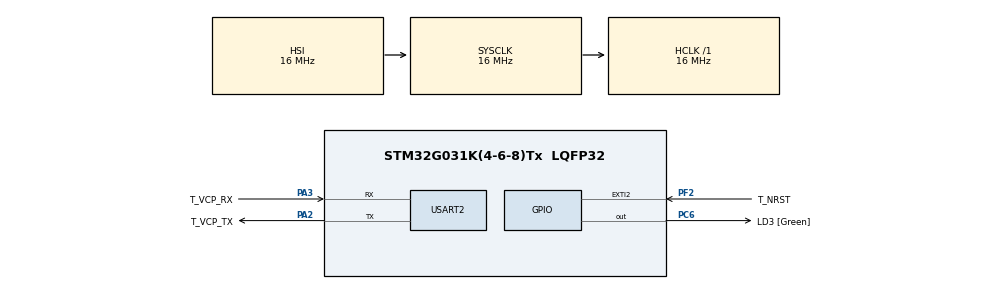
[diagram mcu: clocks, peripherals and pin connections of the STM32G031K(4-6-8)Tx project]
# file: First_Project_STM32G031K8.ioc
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Mcu.Family=STM32G0
Mcu.Name=STM32G031K(4-6-8)Tx
Mcu.Package=LQFP32
NVIC.TIM1_BRK_UP_TRG_COM_IRQn=true\:0\:0\:false\:false\:true\:true\:true
NVIC.TIM1_CC_IRQn=true\:0\:0\:false\:false\:true\:true\:true
PA13.GPIO_Label=T_JTMS
PA13.Mode=Serial_Wire
PA13.Signal=SYS_SWDIO
PA14-BOOT0.GPIO_Label=T_JTCK
PA14-BOOT0.Mode=Serial_Wire
PA14-BOOT0.Signal=SYS_SWCLK
PA2.GPIO_Label=T_VCP_TX
PA2.GPIO_PuPd=GPIO_PULLUP
PA2.Mode=Asynchronous
PA2.Signal=USART2_TX
PA3.GPIO_Label=T_VCP_RX
PA3.GPIO_PuPd=GPIO_PULLUP
PA3.Mode=Asynchronous
PA3.Signal=USART2_RX
PC14-OSC32_IN\ (PC14).Mode=LSE-External-Oscillator
PC14-OSC32_IN\ (PC14).Signal=RCC_OSC32_IN
PC15-OSC32_OUT\ (PC15).Mode=LSE-External-Oscillator
PC15-OSC32_OUT\ (PC15).Signal=RCC_OSC32_OUT
PC6.GPIO_Label=LD3 [Green]
PC6.Signal=GPIO_Output
PF2\ -\ NRST.GPIO_Label=T_NRST
PF2\ -\ NRST.Signal=GPXTI2
ProjectManager.HeapSize=0x200
ProjectManager.StackSize=0x400
ProjectManager.TargetToolchain=STM32CubeIDE
RCC.AHBFreq_Value=16000000
RCC.CortexFreq_Value=16000000
RCC.EXTERNAL_CLOCK_VALUE=12288000
RCC.HCLKFreq_Value=16000000
RCC.HSE_VALUE=8000000
RCC.HSI_VALUE=16000000
RCC.SYSCLKFreq_VALUE=16000000
RCC.VCOOutputFreq_Value=128000000
TIM1.Channel-PWM\ Generation1\ No\ Output=TIM_CHANNEL_1
TIM1.Period=15999
USART2.VirtualMode-Asynchronous=VM_ASYNC
USART2.WordLength=WORDLENGTH_7B
VP_TIM1_VS_ClockSourceINT.Mode=Internal
VP_TIM1_VS_no_output1.Mode=PWM Generation1 No Output
board=NUCLEO-G031K8

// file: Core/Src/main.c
/* USER CODE BEGIN Header */
/**
  ******************************************************************************
  * @file           : main.c
  * @brief          : Main program body
  ******************************************************************************
  * @attention
  *
  * Copyright (c) 2022 STMicroelectronics.
  * All rights reserved.
  *
  * This software is licensed under terms that can be found in the LICENSE file
  * in the root directory of this software component.
  * If no LICENSE file comes with this software, it is provided AS-IS.
  *
  ******************************************************************************
  */
/* USER CODE END Header */
#include "main.h"
#include "tim.h"
#include "usart.h"
#include "gpio.h"

/* USER CODE BEGIN Includes */
#define Contagem_Maxima 	1000
#define Contagem_Minima_LED	2
#define Contagem_Maxima_LED	4

uint16_t Contador_Segundos;
/* USER CODE END Includes */

void SystemClock_Config(void);

/* USER CODE BEGIN 0 */

void HAL_TIM_PeriodElapsedCallback(TIM_HandleTypeDef *htim)
{
	  static uint16_t Contador_Ms = 0;

	  if(htim->Instance == TIM1)
	   {
		   Contador_Ms++;
		   if (Contador_Ms == Contagem_Maxima)
		   {
			   Contador_Segundos++;
			   Contador_Ms = 0;
		   }
	   }
}

/* USER CODE END 0 */

int main(void)
{

  /* MCU Configuration--------------------------------------------------------*/

  /* Reset of all peripherals, Initializes the Flash interface and the Systick. */
  HAL_Init();

  /* Configure the system clock */
  SystemClock_Config();

  /* Initialize all configured peripherals */
  MX_GPIO_Init();
  MX_USART2_UART_Init();
  MX_TIM1_Init();
  /* USER CODE BEGIN 2 */

//  HAL_TIM_Base_Start(&htim1);
  HAL_TIM_Base_Start_IT(&htim1);

  /* USER CODE END 2 */

  /* Infinite loop */
  while (1)
  {

    /* USER CODE BEGIN 3 */
	  if (Contador_Segundos < Contagem_Minima_LED)
	  {
		  HAL_GPIO_WritePin(GPIOC, GPIO_PIN_6, GPIO_PIN_RESET);
	  }
	  else if (Contador_Segundos >= Contagem_Minima_LED && Contador_Segundos < Contagem_Maxima_LED)
	  {
		  HAL_GPIO_WritePin(GPIOC, GPIO_PIN_6, GPIO_PIN_SET);
	  }
	  else if (Contador_Segundos >= Contagem_Maxima_LED)
	  {
		  HAL_GPIO_WritePin(GPIOC, GPIO_PIN_6, GPIO_PIN_RESET);
		  Contador_Segundos = 0;
	  }

  }
  /* USER CODE END 3 */
}

void SystemClock_Config(void)
{
  RCC_OscInitTypeDef RCC_OscInitStruct = {0};
  RCC_ClkInitTypeDef RCC_ClkInitStruct = {0};

  /** Configure the main internal regulator output voltage
  */
  HAL_PWREx_ControlVoltageScaling(PWR_REGULATOR_VOLTAGE_SCALE1);
  /** Initializes the RCC Oscillators according to the specified parameters
  * in the RCC_OscInitTypeDef structure.
  */
  RCC_OscInitStruct.OscillatorType = RCC_OSCILLATORTYPE_HSI;
  RCC_OscInitStruct.HSIState = RCC_HSI_ON;
  RCC_OscInitStruct.HSIDiv = RCC_HSI_DIV1;
  RCC_OscInitStruct.HSICalibrationValue = RCC_HSICALIBRATION_DEFAULT;
  RCC_OscInitStruct.PLL.PLLState = RCC_PLL_NONE;
  if (HAL_RCC_OscConfig(&RCC_OscInitStruct) != HAL_OK)
  {
    Error_Handler();
  }
  /** Initializes the CPU, AHB and APB buses clocks
  */
  RCC_ClkInitStruct.ClockType = RCC_CLOCKTYPE_HCLK|RCC_CLOCKTYPE_SYSCLK
                              |RCC_CLOCKTYPE_PCLK1;
  RCC_ClkInitStruct.SYSCLKSource = RCC_SYSCLKSOURCE_HSI;
  RCC_ClkInitStruct.AHBCLKDivider = RCC_SYSCLK_DIV1;
  RCC_ClkInitStruct.APB1CLKDivider = RCC_HCLK_DIV1;

  if (HAL_RCC_ClockConfig(&RCC_ClkInitStruct, FLASH_LATENCY_0) != HAL_OK)
  {
    Error_Handler();
  }
}

void Error_Handler(void)
{
  __disable_irq();
  while (1)
  {
  }
}
